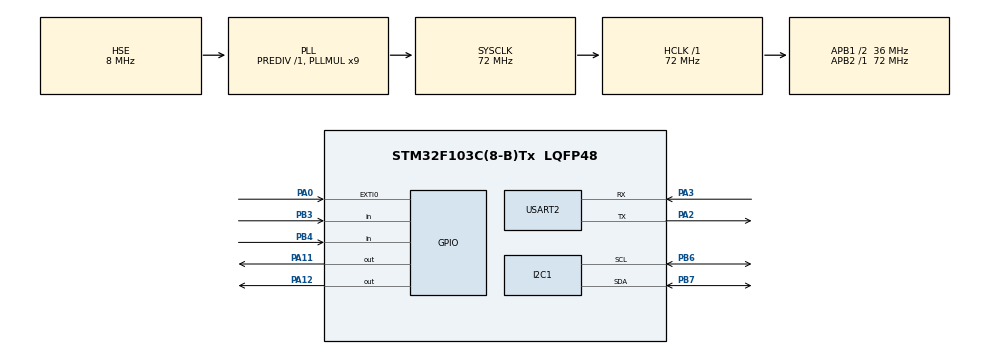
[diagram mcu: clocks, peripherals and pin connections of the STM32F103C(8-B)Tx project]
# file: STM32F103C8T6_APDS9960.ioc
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Mcu.Family=STM32F1
Mcu.Name=STM32F103C(8-B)Tx
Mcu.Package=LQFP48
NVIC.EXTI0_IRQn=true\:1\:0\:true\:false\:true\:true\:true\:true
NVIC.PriorityGroup=NVIC_PRIORITYGROUP_4
PA0-WKUP.GPIO_ModeDefaultEXTI=GPIO_MODE_IT_FALLING
PA0-WKUP.Signal=GPXTI0
PA11.PinState=GPIO_PIN_RESET
PA11.Signal=GPIO_Output
PA12.PinState=GPIO_PIN_RESET
PA12.Signal=GPIO_Output
PA13.Mode=Serial_Wire
PA13.Signal=SYS_JTMS-SWDIO
PA14.Mode=Serial_Wire
PA14.Signal=SYS_JTCK-SWCLK
PA2.Mode=Asynchronous
PA2.Signal=USART2_TX
PA3.Mode=Asynchronous
PA3.Signal=USART2_RX
PB3.Signal=GPIO_Input
PB4.Signal=GPIO_Input
PB6.Mode=I2C
PB6.Signal=I2C1_SCL
PB7.Mode=I2C
PB7.Signal=I2C1_SDA
PD0-OSC_IN.Mode=HSE-External-Oscillator
PD0-OSC_IN.Signal=RCC_OSC_IN
PD1-OSC_OUT.Mode=HSE-External-Oscillator
PD1-OSC_OUT.Signal=RCC_OSC_OUT
ProjectManager.HeapSize=0x200
ProjectManager.StackSize=0x400
ProjectManager.TargetToolchain=STM32CubeIDE
RCC.AHBFreq_Value=72000000
RCC.APB1CLKDivider=RCC_HCLK_DIV2
RCC.APB1Freq_Value=36000000
RCC.APB1TimFreq_Value=72000000
RCC.APB2Freq_Value=72000000
RCC.APB2TimFreq_Value=72000000
RCC.HCLKFreq_Value=72000000
RCC.PLLMUL=RCC_PLL_MUL9
RCC.PLLSourceVirtual=RCC_PLLSOURCE_HSE
RCC.SYSCLKFreq_VALUE=72000000
RCC.SYSCLKSource=RCC_SYSCLKSOURCE_PLLCLK
RCC.USBFreq_Value=72000000
USART2.VirtualMode=VM_ASYNC
board=custom

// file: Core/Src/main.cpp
/* USER CODE BEGIN Header */
/**
 ******************************************************************************
///////////////////////////////////////////////////////////////////////////////
//                                                                           //
//  * Autor: PEDRO MELÉNDEZ DEL POZO - 53404                                 //
//                                                                           //
//  * Archivo: main.cpp                                                      //
//                                                                           //
//  * Tema:  TFG - Control gestual de una cortina domotizada                 //
//                 para aplicaciones domoticas                               //
//                                                                           //
//  * Versión: 1.0                                                           //
//                                                                           //
///////////////////////////////////////////////////////////////////////////////
 ******************************************************************************
 * @attention
 *
 * Copyright (c) 2023 STMicroelectronics.
 * All rights reserved.
 *
 * This software is licensed under terms that can be found in the LICENSE file
 * in the root directory of this software component.
 * If no LICENSE file comes with this software, it is provided AS-IS.
 *
  ******************************************************************************
 */
/* USER CODE END Header */
#include "main.h"

/* USER CODE BEGIN Includes */

#include "APDS9960.h" //APDS-9960 Gesture Sensor
#include "string.h"   //Convert address to string
#include "stdio.h"    //Sprintf
#include "stdbool.h"  //Bool

/* USER CODE END Includes */

I2C_HandleTypeDef hi2c1;

UART_HandleTypeDef huart2;

void SystemClock_Config(void);
static void MX_GPIO_Init(void);
static void MX_I2C1_Init(void);
static void MX_USART2_UART_Init(void);

/* USER CODE BEGIN 0 */
APDS9960 apds = APDS9960();//Object APDS-9960

volatile bool isr_gesture_flag = false; //It is activated when it receives an interruption

//The following variables help us to determine the movement that produces the interruption
volatile bool UP_flag = false;
volatile bool DOWN_flag = false;
volatile bool LEFT_flag = false;
volatile bool RIGHT_flag = false;
volatile bool FAR_flag = false;
volatile bool NEAR_flag = false;
volatile bool NONE_flag = false;

//Engine status 1-ON/0-OFF
int status_UP = 0;
int status_DOWN = 0;
unsigned long time;
unsigned long Tmax = 7000;//Waiting time to disable motors

//Functions
void handleGesture();//Gesture handler
void motor_up();//Raise blind
void motor_down();//Lower blind
void stop_system();//Stom motors

void send_uart_to_transmit(char* text) //Send data using UART
{
    HAL_UART_Transmit(&huart2, (uint8_t*)text, strlen(text), HAL_MAX_DELAY);
}

void HAL_GPIO_EXTI_Callback(uint16_t GPIO_Pin)//ISR
{

	if (GPIO_Pin == GPIO_PIN_0)
		isr_gesture_flag = true;
}

/* USER CODE END 0 */

int main(void)
{
  /* USER CODE BEGIN 1 */
	//I2C scanner
	uint8_t ack; // Recognition bit
	char dir[100];
	int nd = 0;    //List of I2C devices found
	int counter = HAL_GetTick(); //Timer
	int button_count=0;
  /* USER CODE END 1 */

  /* MCU Configuration--------------------------------------------------------*/

  /* Reset of all peripherals, Initializes the Flash interface and the Systick. */
  HAL_Init();

  /* Configure the system clock */
  SystemClock_Config();

  /* Initialize all configured peripherals */
  MX_GPIO_Init();
  MX_I2C1_Init();
  MX_USART2_UART_Init();
  /* USER CODE BEGIN 2 */

  //////////////  I2C DEVICE SCANNER ////////////////////////////////////////////////////
  send_uart_to_transmit(" Scanning I2C devices\n");
  for(uint8_t adress=0;adress<128;adress++) //4 bits => 128 possible addresses
  {
	  ack = HAL_I2C_IsDeviceReady(&hi2c1,adress<<1,3,HAL_MAX_DELAY);
	  //The slave responds if it is its address.
	  if(ack == HAL_OK)
	  {
		  nd++;
		  sprintf((char*)dir," Device %d: 0x%X  \n",nd,adress); //Convert to string
		  HAL_UART_Transmit(&huart2,(uint8_t*)dir,strlen(dir),HAL_MAX_DELAY);
	  }
  }
  /////////////////////////////////////////////////
  if(apds.init()==true) //INITIALIZATION: APDS-9960
  {
	  send_uart_to_transmit("\n APDS9960 initialized successfully\n");
	  HAL_Delay(100);

  }
  else
  {
	  send_uart_to_transmit("\n ..ERROR.. Failed to initialize APDS9960\n");
	  HAL_Delay(100);

  }

  if(apds.enableGestureSensor(true)) //INITIALIZATION: GESTURE MODE
  {
	  send_uart_to_transmit(" Gesture detection mode activated \n\n");
	  HAL_Delay(100);

  }
  else
  {
	  send_uart_to_transmit(" ..ERROR.. Could not start gesture detection mode.\n\n");
	  HAL_Delay(100);

  }
  /* USER CODE END 2 */

  /* Infinite loop */
  /* USER CODE BEGIN WHILE */
  while (1)
  {
	  if ( isr_gesture_flag == true )
	  {
		  HAL_NVIC_DisableIRQ(EXTI0_IRQn); //Disable interrupts
		  handleGesture();
		  isr_gesture_flag = false;

	  }

	  if ((status_UP==1 || status_DOWN==1) && (HAL_GetTick()-time)>Tmax) //Disable motors after a set time
	       stop_system();

	  ////////////////////////////////////////////////////////////////////////////////////////////////////////////////////////////////////////////

	  if (HAL_GPIO_ReadPin(GPIOB,GPIO_PIN_3) == 1)
	  {
		  stop_system();
		  HAL_Delay(150);
		  motor_up();
		  send_uart_to_transmit("\n UP BUTTON ON \n");
		  while (HAL_GPIO_ReadPin(GPIOB,GPIO_PIN_3) == 1)
		  {
			  //Raise blinds
		  }
		  send_uart_to_transmit("\n UP BUTTON OFF \n");
		  stop_system();
	  }

	  else if (HAL_GPIO_ReadPin(GPIOB,GPIO_PIN_4) == 1)
	  {
		  stop_system();
		  HAL_Delay(150);
		  motor_down();
		  send_uart_to_transmit("\n DOWN BUTTON ON \n");
		  while (HAL_GPIO_ReadPin(GPIOB,GPIO_PIN_4) == 1)
		  {
			  //Lower blinds
		  }
		  send_uart_to_transmit("\n DOWN BUTTON OFF \n");
		  stop_system();
	  }

	  else if (UP_flag == true) //Gesture raise blinds
	  {
		  send_uart_to_transmit("\n RISING BLIND \n");
		  motor_up();
		  UP_flag = false;
	  }
	  else if (DOWN_flag == true)//Gesture lower blinds
		  {
		  send_uart_to_transmit("\n LOWERING BLIND\n");
		  motor_down();
		  DOWN_flag = false;

	  }
	  else if (LEFT_flag == true) //Leftward movement
	  {
		  send_uart_to_transmit("\n LEFTWARD MOVEMENT <-- \n");
		  LEFT_flag = false;
	  }
	  else if (RIGHT_flag == true) //Rightward movement
	  {
		  send_uart_to_transmit("\n RIGHTWARD MOVEMENT --> \n");
		  RIGHT_flag = false;
	  }
	  else if (NEAR_flag == true) //Movimiento acercar
	  {
		  send_uart_to_transmit("\n SYSTEM STOP \n");
		  stop_system();
		  NEAR_flag = false;
	  }
	  else if(NONE_flag == true )
	  {
		  send_uart_to_transmit("\n NONE GESTURE. \n");
		  NONE_flag = false;
	  }
	  else if(FAR_flag == true)
	  {
		  send_uart_to_transmit("\n FAR GESTURE. \n");
		  FAR_flag = false;
	  }

	  HAL_NVIC_EnableIRQ(EXTI0_IRQn);  //Enable interrupts
    /* USER CODE END WHILE */

  }
}

void SystemClock_Config(void)
{
  RCC_OscInitTypeDef RCC_OscInitStruct = {0};
  RCC_ClkInitTypeDef RCC_ClkInitStruct = {0};

  /** Initializes the RCC Oscillators according to the specified parameters
  * in the RCC_OscInitTypeDef structure.
  */
  RCC_OscInitStruct.OscillatorType = RCC_OSCILLATORTYPE_HSE;
  RCC_OscInitStruct.HSEState = RCC_HSE_ON;
  RCC_OscInitStruct.HSEPredivValue = RCC_HSE_PREDIV_DIV1;
  RCC_OscInitStruct.HSIState = RCC_HSI_ON;
  RCC_OscInitStruct.PLL.PLLState = RCC_PLL_ON;
  RCC_OscInitStruct.PLL.PLLSource = RCC_PLLSOURCE_HSE;
  RCC_OscInitStruct.PLL.PLLMUL = RCC_PLL_MUL9;
  if (HAL_RCC_OscConfig(&RCC_OscInitStruct) != HAL_OK)
  {
    Error_Handler();
  }

  /** Initializes the CPU, AHB and APB buses clocks
  */
  RCC_ClkInitStruct.ClockType = RCC_CLOCKTYPE_HCLK|RCC_CLOCKTYPE_SYSCLK
                              |RCC_CLOCKTYPE_PCLK1|RCC_CLOCKTYPE_PCLK2;
  RCC_ClkInitStruct.SYSCLKSource = RCC_SYSCLKSOURCE_PLLCLK;
  RCC_ClkInitStruct.AHBCLKDivider = RCC_SYSCLK_DIV1;
  RCC_ClkInitStruct.APB1CLKDivider = RCC_HCLK_DIV2;
  RCC_ClkInitStruct.APB2CLKDivider = RCC_HCLK_DIV1;

  if (HAL_RCC_ClockConfig(&RCC_ClkInitStruct, FLASH_LATENCY_2) != HAL_OK)
  {
    Error_Handler();
  }
}

static void MX_I2C1_Init(void)
{

  hi2c1.Instance = I2C1;
  hi2c1.Init.ClockSpeed = 100000;
  hi2c1.Init.DutyCycle = I2C_DUTYCYCLE_2;
  hi2c1.Init.OwnAddress1 = 0;
  hi2c1.Init.AddressingMode = I2C_ADDRESSINGMODE_7BIT;
  hi2c1.Init.DualAddressMode = I2C_DUALADDRESS_DISABLE;
  hi2c1.Init.OwnAddress2 = 0;
  hi2c1.Init.GeneralCallMode = I2C_GENERALCALL_DISABLE;
  hi2c1.Init.NoStretchMode = I2C_NOSTRETCH_DISABLE;
  if (HAL_I2C_Init(&hi2c1) != HAL_OK)
  {
    Error_Handler();
  }

}

static void MX_USART2_UART_Init(void)
{

  huart2.Instance = USART2;
  huart2.Init.BaudRate = 115200;
  huart2.Init.WordLength = UART_WORDLENGTH_8B;
  huart2.Init.StopBits = UART_STOPBITS_1;
  huart2.Init.Parity = UART_PARITY_NONE;
  huart2.Init.Mode = UART_MODE_TX_RX;
  huart2.Init.HwFlowCtl = UART_HWCONTROL_NONE;
  huart2.Init.OverSampling = UART_OVERSAMPLING_16;
  if (HAL_UART_Init(&huart2) != HAL_OK)
  {
    Error_Handler();
  }

}

static void MX_GPIO_Init(void)
{
  GPIO_InitTypeDef GPIO_InitStruct = {0};

  /* GPIO Ports Clock Enable */
  __HAL_RCC_GPIOD_CLK_ENABLE();
  __HAL_RCC_GPIOA_CLK_ENABLE();
  __HAL_RCC_GPIOB_CLK_ENABLE();

  /*Configure GPIO pin Output Level */
  HAL_GPIO_WritePin(GPIOA, GPIO_PIN_11|GPIO_PIN_12, GPIO_PIN_RESET);

  /*Configure GPIO pin : PA0 */
  GPIO_InitStruct.Pin = GPIO_PIN_0;
  GPIO_InitStruct.Mode = GPIO_MODE_IT_FALLING;
  GPIO_InitStruct.Pull = GPIO_NOPULL;
  HAL_GPIO_Init(GPIOA, &GPIO_InitStruct);

  /*Configure GPIO pins : PA11 PA12 */
  GPIO_InitStruct.Pin = GPIO_PIN_11|GPIO_PIN_12;
  GPIO_InitStruct.Mode = GPIO_MODE_OUTPUT_PP;
  GPIO_InitStruct.Pull = GPIO_NOPULL;
  GPIO_InitStruct.Speed = GPIO_SPEED_FREQ_LOW;
  HAL_GPIO_Init(GPIOA, &GPIO_InitStruct);

  /*Configure GPIO pins : PB3 PB4 */
  GPIO_InitStruct.Pin = GPIO_PIN_3|GPIO_PIN_4;
  GPIO_InitStruct.Mode = GPIO_MODE_INPUT;
  GPIO_InitStruct.Pull = GPIO_NOPULL;
  HAL_GPIO_Init(GPIOB, &GPIO_InitStruct);

  /* EXTI interrupt init*/
  HAL_NVIC_SetPriority(EXTI0_IRQn, 1, 0);
  HAL_NVIC_EnableIRQ(EXTI0_IRQn);

}

/* USER CODE BEGIN 4 */

void handleGesture() //Gesture handler
{
  if ( apds.isGestureAvailable() )
  {
    switch ( apds.readGesture() )
    {
      case DIR_UP:
        UP_flag = true;
        break;

      case DIR_DOWN:
        DOWN_flag = true;
        break;

      case DIR_LEFT:
        LEFT_flag = true;
        break;

      case DIR_RIGHT:
        RIGHT_flag = true;
        break;

      case DIR_NEAR:
        NEAR_flag = true;
        break;

      case DIR_FAR:
        FAR_flag = true;
        break;

      default:
        NONE_flag = true;
        break;
    }
  }
}

void motor_up() //Raise blind function
{
	stop_system();
	HAL_Delay(150);
	status_UP = 1;
	HAL_GPIO_WritePin(GPIOA,GPIO_PIN_11,GPIO_PIN_SET);
	time = HAL_GetTick();
}

void motor_down() //Lower blind function
{
	stop_system();
	HAL_Delay(150);
	status_DOWN = 1;
	HAL_GPIO_WritePin(GPIOA,GPIO_PIN_12,GPIO_PIN_SET);
	time = HAL_GetTick();
}

void stop_system() //Stom motors function
{
	status_UP = 0;
	status_DOWN = 0;
	HAL_GPIO_WritePin(GPIOA,GPIO_PIN_11,GPIO_PIN_RESET);
	HAL_GPIO_WritePin(GPIOA,GPIO_PIN_12,GPIO_PIN_RESET);
}
/* USER CODE END 4 */

void Error_Handler(void)
{
		__disable_irq();
		while (1)
		{
		}
}
